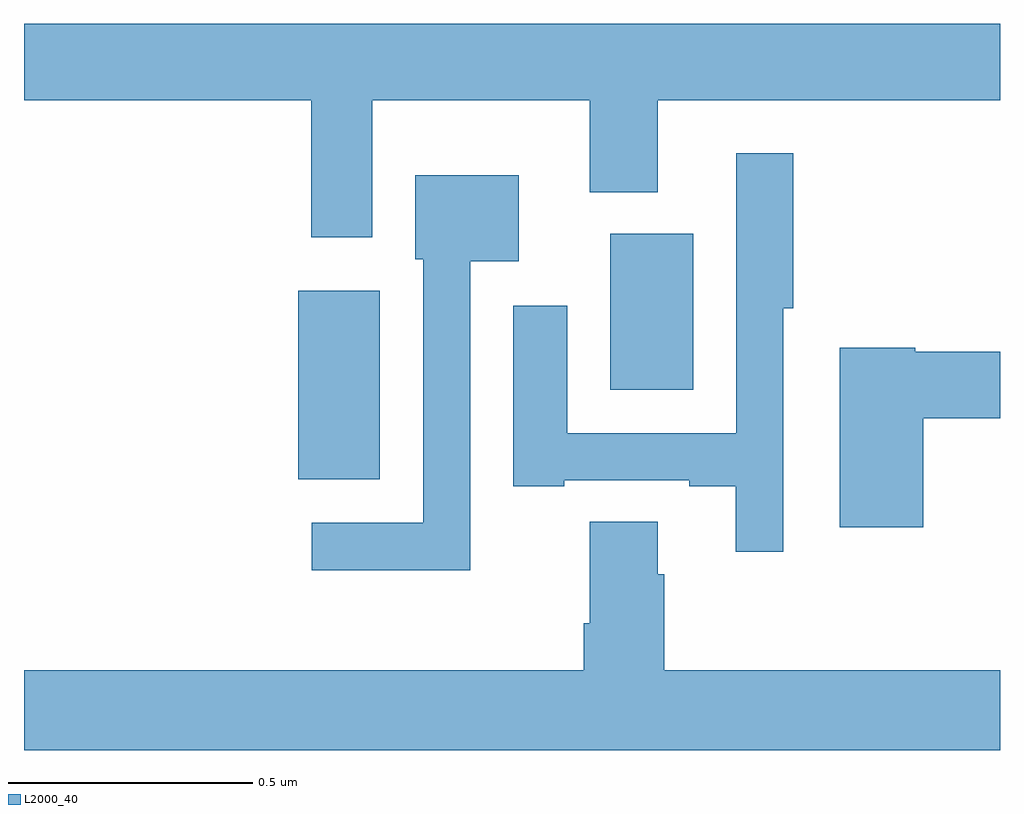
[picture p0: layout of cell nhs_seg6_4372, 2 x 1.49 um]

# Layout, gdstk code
import gdstk
lib = gdstk.Library(unit=1e-6, precision=1e-09)
def R(c, l, rs):  # rectangles x0, y0, x1, y1
    for r in rs: c.add(gdstk.rectangle(r[:2], r[2:], *l))
def P(c, l, *ps):  # polygons
    for p in ps: c.add(gdstk.Polygon(p, *l))
L2000_40 = (2000, 40)

nhs_seg6_4372 = lib.new_cell('nhs_seg6_4372')
R(nhs_seg6_4372, L2000_40, [(169.562,938.567,169.729,938.953), (170.201,938.75,170.371,939.07)])
P(nhs_seg6_4372, L2000_40, [(169,939.344),(169.589,939.344),(169.589,939.063),(169.714,939.063),(169.714,939.344),(170.159,939.344),(170.159,939.155),(170.299,939.155),(170.299,939.344),(171,939.344),(171,939.5),(169,939.5)],
  [(170.556,938.917),(170.576,938.917),(170.576,939.235),(170.46,939.235),(170.46,938.661),(170.113,938.661),(170.113,938.923),(170.003,938.923),(170.003,938.553),(170.107,938.553),(170.107,938.565),(170.363,938.565),(170.363,938.553),(170.459,938.553),(170.459,938.418),(170.556,938.418)],
  [(169.914,939.014),(170.014,939.014),(170.014,939.19),(169.802,939.19),(169.802,939.018),(169.818,939.018),(169.818,938.478),(169.59,938.478),(169.59,938.381),(169.914,938.381)],
  [(170.843,938.692),(171,938.692),(171,938.828),(170.826,938.828),(170.826,938.836),(170.672,938.836),(170.672,938.469),(170.843,938.469)],
  [(171,938.176),(170.312,938.176),(170.312,938.372),(170.299,938.372),(170.299,938.48),(170.159,938.48),(170.159,938.272),(170.147,938.272),(170.147,938.176),(169,938.176),(169,938.012),(171,938.012)])

lib.write_gds('nhs_seg6_4372.gds')
